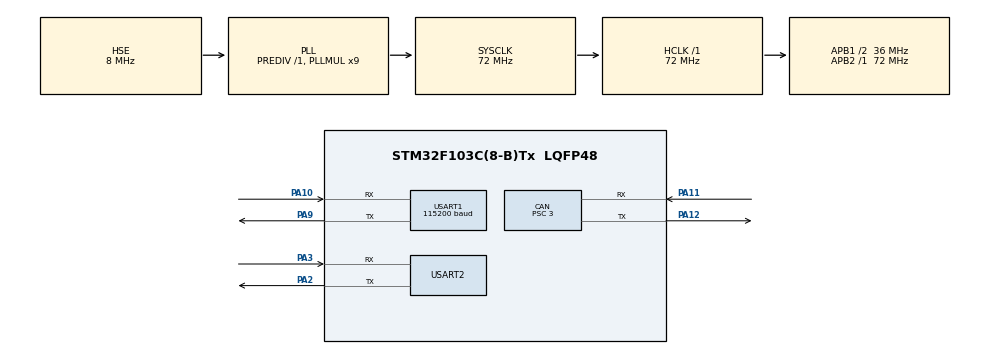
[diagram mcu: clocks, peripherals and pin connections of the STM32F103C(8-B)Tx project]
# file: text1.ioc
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CAN.BS1=CAN_BS1_8TQ
CAN.BS2=CAN_BS2_3TQ
CAN.CalculateBaudRate=999999
CAN.CalculateTimeBit=1000
CAN.CalculateTimeQuantum=83.33333333333334
CAN.Prescaler=3
FREERTOS.Tasks01=defaultTask,24,128,StartDefaultTask,Default,NULL,Dynamic,NULL,NULL;MotorTask,16,256,StartMotorTask,Default,NULL,Dynamic,NULL,NULL;DaemonTask,16,128,StartDaemonTask,Default,NULL,Dynamic,NULL,NULL;RobotCmdTask,24,256,StartRobotCmdTask,Default,NULL,Dynamic,NULL,NULL
FREERTOS.configTOTAL_HEAP_SIZE=5120
Mcu.Family=STM32F1
Mcu.Name=STM32F103C(8-B)Tx
Mcu.Package=LQFP48
NVIC.CAN1_RX1_IRQn=true\:5\:0\:false\:false\:true\:true\:true\:true\:true
NVIC.PriorityGroup=NVIC_PRIORITYGROUP_4
NVIC.TIM1_UP_IRQn=true\:15\:0\:false\:false\:true\:false\:false\:true\:true
NVIC.TimeBase=TIM1_UP_IRQn
NVIC.TimeBaseIP=TIM1
NVIC.USART1_IRQn=true\:5\:0\:false\:false\:true\:false\:false\:false\:false
NVIC.USART2_IRQn=true\:5\:0\:false\:false\:true\:true\:true\:true\:true
NVIC.USB_LP_CAN1_RX0_IRQn=true\:5\:0\:false\:false\:true\:true\:true\:true\:true
PA10.Mode=Asynchronous
PA10.Signal=USART1_RX
PA11.Mode=CAN_Activate
PA11.Signal=CAN_RX
PA12.Mode=CAN_Activate
PA12.Signal=CAN_TX
PA13.Mode=Serial_Wire
PA13.Signal=SYS_JTMS-SWDIO
PA14.Mode=Serial_Wire
PA14.Signal=SYS_JTCK-SWCLK
PA2.Mode=Asynchronous
PA2.Signal=USART2_TX
PA3.Mode=Asynchronous
PA3.Signal=USART2_RX
PA9.Mode=Asynchronous
PA9.Signal=USART1_TX
PD0-OSC_IN.Mode=HSE-External-Oscillator
PD0-OSC_IN.Signal=RCC_OSC_IN
PD1-OSC_OUT.Mode=HSE-External-Oscillator
PD1-OSC_OUT.Signal=RCC_OSC_OUT
ProjectManager.HeapSize=0x200
ProjectManager.StackSize=0x400
ProjectManager.TargetToolchain=CMake
RCC.AHBFreq_Value=72000000
RCC.APB1CLKDivider=RCC_HCLK_DIV2
RCC.APB1Freq_Value=36000000
RCC.APB1TimFreq_Value=72000000
RCC.APB2Freq_Value=72000000
RCC.APB2TimFreq_Value=72000000
RCC.HCLKFreq_Value=72000000
RCC.PLLMUL=RCC_PLL_MUL9
RCC.PLLSourceVirtual=RCC_PLLSOURCE_HSE
RCC.SYSCLKFreq_VALUE=72000000
RCC.SYSCLKSource=RCC_SYSCLKSOURCE_PLLCLK
RCC.USBFreq_Value=72000000
USART1.BaudRate=115200
USART1.Parity=PARITY_NONE
USART1.VirtualMode=VM_ASYNC
USART1.WordLength=WORDLENGTH_8B
USART2.VirtualMode=VM_ASYNC
VP_FREERTOS_VS_CMSIS_V2.Mode=CMSIS_V2
VP_SYS_VS_tim1.Mode=TIM1
board=custom

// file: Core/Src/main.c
/* USER CODE BEGIN Header */
/**
  ******************************************************************************
  * @file           : main.c
  * @brief          : Main program body
  ******************************************************************************
  * @attention
  *
  * Copyright (c) 2026 STMicroelectronics.
  * All rights reserved.
  *
  * This software is licensed under terms that can be found in the LICENSE file
  * in the root directory of this software component.
  * If no LICENSE file comes with this software, it is provided AS-IS.
  *
  ******************************************************************************
  */
/* USER CODE END Header */
#include "main.h"
#include "cmsis_os.h"
#include "can.h"
#include "usart.h"
#include "gpio.h"

/* USER CODE BEGIN Includes */
#include "bsp_log.h"

/* USER CODE END Includes */

void SystemClock_Config(void);
void MX_FREERTOS_Init(void);

int main(void)
{

  /* MCU Configuration--------------------------------------------------------*/

  /* Reset of all peripherals, Initializes the Flash interface and the Systick. */
  HAL_Init();

  /* Configure the system clock */
  SystemClock_Config();

  /* Initialize all configured peripherals */
  MX_GPIO_Init();
  MX_CAN_Init();
  MX_USART1_UART_Init();
  MX_USART2_UART_Init();
  /* USER CODE BEGIN 2 */
  BSPLogInit();
  LOGINFO("[main] GPIO, CAN and USART1 initialized");

  /* USER CODE END 2 */

  /* Init scheduler */
  osKernelInitialize();  /* Call init function for freertos objects (in cmsis_os2.c) */
  MX_FREERTOS_Init();

  /* Start scheduler */
  osKernelStart();

  /* We should never get here as control is now taken by the scheduler */

  /* Infinite loop */
  while (1)
  {

  }
}

void SystemClock_Config(void)
{
  RCC_OscInitTypeDef RCC_OscInitStruct = {0};
  RCC_ClkInitTypeDef RCC_ClkInitStruct = {0};

  /** Initializes the RCC Oscillators according to the specified parameters
  * in the RCC_OscInitTypeDef structure.
  */
  RCC_OscInitStruct.OscillatorType = RCC_OSCILLATORTYPE_HSE;
  RCC_OscInitStruct.HSEState = RCC_HSE_ON;
  RCC_OscInitStruct.HSEPredivValue = RCC_HSE_PREDIV_DIV1;
  RCC_OscInitStruct.HSIState = RCC_HSI_ON;
  RCC_OscInitStruct.PLL.PLLState = RCC_PLL_ON;
  RCC_OscInitStruct.PLL.PLLSource = RCC_PLLSOURCE_HSE;
  RCC_OscInitStruct.PLL.PLLMUL = RCC_PLL_MUL9;
  if (HAL_RCC_OscConfig(&RCC_OscInitStruct) != HAL_OK)
  {
    Error_Handler();
  }

  /** Initializes the CPU, AHB and APB buses clocks
  */
  RCC_ClkInitStruct.ClockType = RCC_CLOCKTYPE_HCLK|RCC_CLOCKTYPE_SYSCLK
                              |RCC_CLOCKTYPE_PCLK1|RCC_CLOCKTYPE_PCLK2;
  RCC_ClkInitStruct.SYSCLKSource = RCC_SYSCLKSOURCE_PLLCLK;
  RCC_ClkInitStruct.AHBCLKDivider = RCC_SYSCLK_DIV1;
  RCC_ClkInitStruct.APB1CLKDivider = RCC_HCLK_DIV2;
  RCC_ClkInitStruct.APB2CLKDivider = RCC_HCLK_DIV1;

  if (HAL_RCC_ClockConfig(&RCC_ClkInitStruct, FLASH_LATENCY_2) != HAL_OK)
  {
    Error_Handler();
  }
}

void HAL_TIM_PeriodElapsedCallback(TIM_HandleTypeDef *htim)
{
  if (htim->Instance == TIM1)
  {
    HAL_IncTick();
  }
}

void Error_Handler(void)
{
  __disable_irq();
  while (1)
  {
  }
}

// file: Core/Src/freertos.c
/* USER CODE BEGIN Header */
/**
  ******************************************************************************
  * File Name          : freertos.c
  * Description        : Code for freertos applications
  ******************************************************************************
  * @attention
  *
  * Copyright (c) 2026 STMicroelectronics.
  * All rights reserved.
  *
  * This software is licensed under terms that can be found in the LICENSE file
  * in the root directory of this software component.
  * If no LICENSE file comes with this software, it is provided AS-IS.
  *
  ******************************************************************************
  */
/* USER CODE END Header */

#include "FreeRTOS.h"
#include "task.h"
#include "main.h"
#include "cmsis_os.h"

/* USER CODE BEGIN Includes */
#include "bsp_dwt.h"
#include "chassis.h"
#include "dji_motor.h"
#include "daemon.h"
#include "gimbal.h"
#include "remote_control.h"
#include "energy_mechanism.h"
#include "robot_cmd.h"
/* USER CODE END Includes */

/* USER CODE BEGIN Variables */
/* Debugger diagnostics: 0 = none, 1 = stack overflow, 2 = RTOS heap failure. */
volatile uint32_t rtos_fault_reason;
TaskHandle_t volatile rtos_fault_task;
const char * volatile rtos_fault_task_name;
/* Historical minimum unused task stack, in bytes; sampled once per second. */
volatile uint32_t robot_cmd_stack_free_min_bytes;
/* USER CODE END Variables */
/* Definitions for defaultTask */
osThreadId_t defaultTaskHandle;
const osThreadAttr_t defaultTask_attributes = {
  .name = "defaultTask",
  .stack_size = 128 * 4,
  .priority = (osPriority_t) osPriorityNormal,
};
/* Definitions for MotorTask */
osThreadId_t MotorTaskHandle;
const osThreadAttr_t MotorTask_attributes = {
  .name = "MotorTask",
  .stack_size = 256 * 4,
  .priority = (osPriority_t) osPriorityBelowNormal,
};
/* Definitions for DaemonTask */
osThreadId_t DaemonTaskHandle;
const osThreadAttr_t DaemonTask_attributes = {
  .name = "DaemonTask",
  .stack_size = 128 * 4,
  .priority = (osPriority_t) osPriorityBelowNormal,
};
/* Definitions for RobotCmdTask */
osThreadId_t RobotCmdTaskHandle;
const osThreadAttr_t RobotCmdTask_attributes = {
  .name = "RobotCmdTask",
  .stack_size = 256 * 4,
  .priority = (osPriority_t) osPriorityNormal,
};

void StartDefaultTask(void *argument);
void StartMotorTask(void *argument);
void StartDaemonTask(void *argument);
void StartRobotCmdTask(void *argument);

void MX_FREERTOS_Init(void); /* (MISRA C 2004 rule 8.1) */

void MX_FREERTOS_Init(void) {

  /* Create the thread(s) */
  /* creation of defaultTask */
  defaultTaskHandle = osThreadNew(StartDefaultTask, NULL, &defaultTask_attributes);

  /* creation of MotorTask */
  MotorTaskHandle = osThreadNew(StartMotorTask, NULL, &MotorTask_attributes);

  /* creation of DaemonTask */
  DaemonTaskHandle = osThreadNew(StartDaemonTask, NULL, &DaemonTask_attributes);

  /* creation of RobotCmdTask */
  RobotCmdTaskHandle = osThreadNew(StartRobotCmdTask, NULL, &RobotCmdTask_attributes);

  /* USER CODE BEGIN RTOS_THREADS */
  configASSERT(defaultTaskHandle != NULL);
  configASSERT(MotorTaskHandle != NULL);
  configASSERT(DaemonTaskHandle != NULL);
  configASSERT(RobotCmdTaskHandle != NULL);
  /* USER CODE END RTOS_THREADS */

}

void StartDefaultTask(void *argument)
{
  /* USER CODE BEGIN StartDefaultTask */
  /* Infinite loop */
  for(;;)
  {
    robot_cmd_stack_free_min_bytes =
        (uint32_t)uxTaskGetStackHighWaterMark((TaskHandle_t)RobotCmdTaskHandle) *
        sizeof(StackType_t);
    osDelay(1000);
  }
  /* USER CODE END StartDefaultTask */
}

void StartMotorTask(void *argument)
{
  /* USER CODE BEGIN StartMotorTask */
  DWT_Init(72);
  ChassisInit();

  /* Infinite loop */
  for(;;)
  {
    ChassisTask();
    DJIMotorControl();
    osDelay(1);
  }
  /* USER CODE END StartMotorTask */
}

void StartDaemonTask(void *argument)
{
  /* USER CODE BEGIN StartDaemonTask */
  /* Infinite loop */
  for(;;)
  {
    DaemonTask();
    osDelay(5);
  }
  /* USER CODE END StartDaemonTask */
}

void StartRobotCmdTask(void *argument)
{
  /* USER CODE BEGIN StartRobotCmdTask */
  RobotCmdInit();
  RemoteControlStartReceive();
  EnergyMechanismStartReceive();
  /* Infinite loop */
  for(;;)
  {
    RobotCmdTask();
    osDelay(1);
  }
  /* USER CODE END StartRobotCmdTask */
}

/* USER CODE BEGIN Application */
void vApplicationStackOverflowHook(TaskHandle_t task, char *task_name)
{
  /* Do not log or allocate memory when the stack is already damaged. */
  taskDISABLE_INTERRUPTS();
  rtos_fault_task = task;
  rtos_fault_task_name = task_name;
  rtos_fault_reason = 1U;
  for (;;) {}
}

void vApplicationMallocFailedHook(void)
{
  taskDISABLE_INTERRUPTS();
  rtos_fault_reason = 2U;
  for (;;) {}
}

/* USER CODE END Application */
